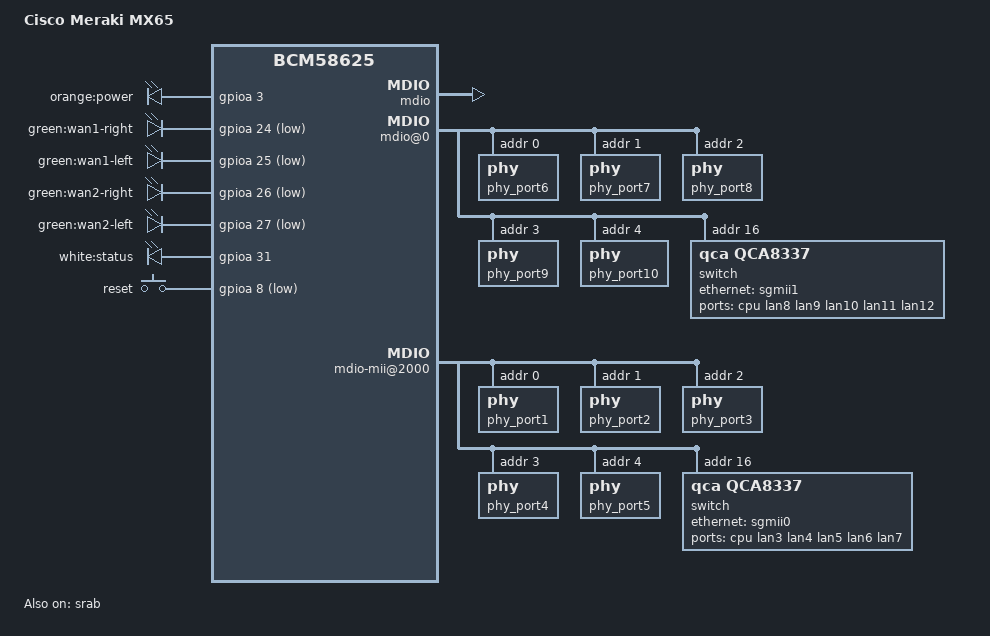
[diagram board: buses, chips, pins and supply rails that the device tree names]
// SPDX-License-Identifier: GPL-2.0-or-later OR MIT
/*
 * Device Tree Bindings for Cisco Meraki MX65 series (Alamo).
 *
 * Copyright (C) 2021 Matthew Hagan <mnhagan88@gmail.com>
 */

/dts-v1/;

#include "bcm958625-mx6x-common.dtsi"

#include <dt-bindings/input/input.h>

/ {
	model = "Cisco Meraki MX65";
	compatible = "meraki,mx65", "brcm,bcm58625", "brcm,nsp";

	aliases {
		mdio-mux-mmio = &mdiomux0;
	};

	leds {
		compatible = "gpio-leds";

		orange_power {
			label = "orange:power";
			gpios = <&gpioa 3 GPIO_ACTIVE_HIGH>;
			default-state = "on";
		};

		wan1_right {
			label = "green:wan1-right";
			gpios = <&gpioa 24 GPIO_ACTIVE_LOW>;
		};

		wan1_left {
			label = "green:wan1-left";
			gpios = <&gpioa 25 GPIO_ACTIVE_LOW>;
		};

		wan2_right {
			label = "green:wan2-right";
			gpios = <&gpioa 26 GPIO_ACTIVE_LOW>;
		};

		wan2_left {
			label = "green:wan2-left";
			gpios = <&gpioa 27 GPIO_ACTIVE_LOW>;
		};

		white_status {
			label = "white:status";
			gpios = <&gpioa 31 GPIO_ACTIVE_HIGH>;
		};
	};

	keys {
		compatible = "gpio-keys-polled";
		autorepeat;
		poll-interval = <20>;

		reset {
			label = "reset";
			linux,code = <KEY_RESTART>;
			gpios = <&gpioa 8 GPIO_ACTIVE_LOW>;
		};
	};

	mdio: mdio@18032000 {
		compatible = "brcm,iproc-mdio";
		reg = <0x18032000 0x8>;
		#size-cells = <0>;
		#address-cells = <1>;
	};

	mdiomux0: mdio-mux {
		compatible = "mdio-mux-mmioreg";
		reg = <0x18032000 0x4>;
		mux-mask = <0x200>;
		#address-cells = <1>;
		#size-cells = <0>;
		mdio-parent-bus = <&mdio>;

		mdio_ext: mdio@200 {
			reg = <0x200>;
			#address-cells = <1>;
			#size-cells = <0>;
		};
	};

	mdio-mii-mux {
		compatible = "mdio-mux-mmioreg";
		reg = <0x1803f1c0 0x4>;
		mux-mask = <0x2000>;
		mdio-parent-bus = <&mdio_ext>;
		#address-cells = <1>;
		#size-cells = <0>;

		mdio@0 {
			reg = <0x0>;
			#address-cells = <1>;
			#size-cells = <0>;

			phy_port6: phy@0 {
				reg = <0>;
			};

			phy_port7: phy@1 {
				reg = <1>;
			};

			phy_port8: phy@2 {
				reg = <2>;
			};

			phy_port9: phy@3 {
				reg = <3>;
			};

			phy_port10: phy@4 {
				reg = <4>;
			};

			switch@10 {
				compatible = "qca,qca8337";
				#address-cells = <1>;
				#size-cells = <0>;
				reg = <0x10>;
				dsa,member = <1 0>;

				ports {
					#address-cells = <1>;
					#size-cells = <0>;
					port@0 {
						reg = <0>;
						label = "cpu";
						ethernet = <&sgmii1>;
						phy-mode = "sgmii";
						fixed-link {
							speed = <1000>;
							full-duplex;
						};
					};

					port@1 {
						reg = <1>;
						label = "lan8";
						phy-handle = <&phy_port6>;
					};

					port@2 {
						reg = <2>;
						label = "lan9";
						phy-handle = <&phy_port7>;
					};

					port@3 {
						reg = <3>;
						label = "lan10";
						phy-handle = <&phy_port8>;
					};

					port@4 {
						reg = <4>;
						label = "lan11";
						phy-handle = <&phy_port9>;
					};

					port@5 {
						reg = <5>;
						label = "lan12";
						phy-handle = <&phy_port10>;
					};
				};
			};
		};

		mdio-mii@2000 {
			reg = <0x2000>;
			#address-cells = <1>;
			#size-cells = <0>;

			phy_port1: phy@0 {
				reg = <0>;
			};

			phy_port2: phy@1 {
				reg = <1>;
			};

			phy_port3: phy@2 {
				reg = <2>;
			};

			phy_port4: phy@3 {
				reg = <3>;
			};

			phy_port5: phy@4 {
				reg = <4>;
			};

			switch@10 {
				compatible = "qca,qca8337";
				#address-cells = <1>;
				#size-cells = <0>;
				reg = <0x10>;
				dsa,member = <2 0>;

				ports {
					#address-cells = <1>;
					#size-cells = <0>;
					port@0 {
						reg = <0>;
						label = "cpu";
						ethernet = <&sgmii0>;
						phy-mode = "sgmii";
						fixed-link {
							speed = <1000>;
							full-duplex;
						};
					};

					port@1 {
						reg = <1>;
						label = "lan3";
						phy-handle = <&phy_port1>;
					};

					port@2 {
						reg = <2>;
						label = "lan4";
						phy-handle = <&phy_port2>;
					};

					port@3 {
						reg = <3>;
						label = "lan5";
						phy-handle = <&phy_port3>;
					};

					port@4 {
						reg = <4>;
						label = "lan6";
						phy-handle = <&phy_port4>;
					};

					port@5 {
						reg = <5>;
						label = "lan7";
						phy-handle = <&phy_port5>;
					};
				};
			};
		};
	};
};

&srab {
	compatible = "brcm,bcm58625-srab", "brcm,nsp-srab";
	status = "okay";
	dsa,member = <0 0>;

	ports {
		#address-cells = <1>;
		#size-cells = <0>;

		port@0 {
			label = "wan1";
			reg = <0>;
		};

		port@1 {
			label = "wan2";
			reg = <1>;
		};

		sgmii0: port@4 {
			label = "sw0";
			reg = <4>;
			fixed-link {
				speed = <1000>;
				full-duplex;
			};
		};

		sgmii1: port@5 {
			label = "sw1";
			reg = <5>;
			fixed-link {
				speed = <1000>;
				full-duplex;
			};
		};

		port@8 {
			ethernet = <&amac2>;
			label = "cpu";
			reg = <8>;
			fixed-link {
				speed = <1000>;
				full-duplex;
			};
		};
	};
};
